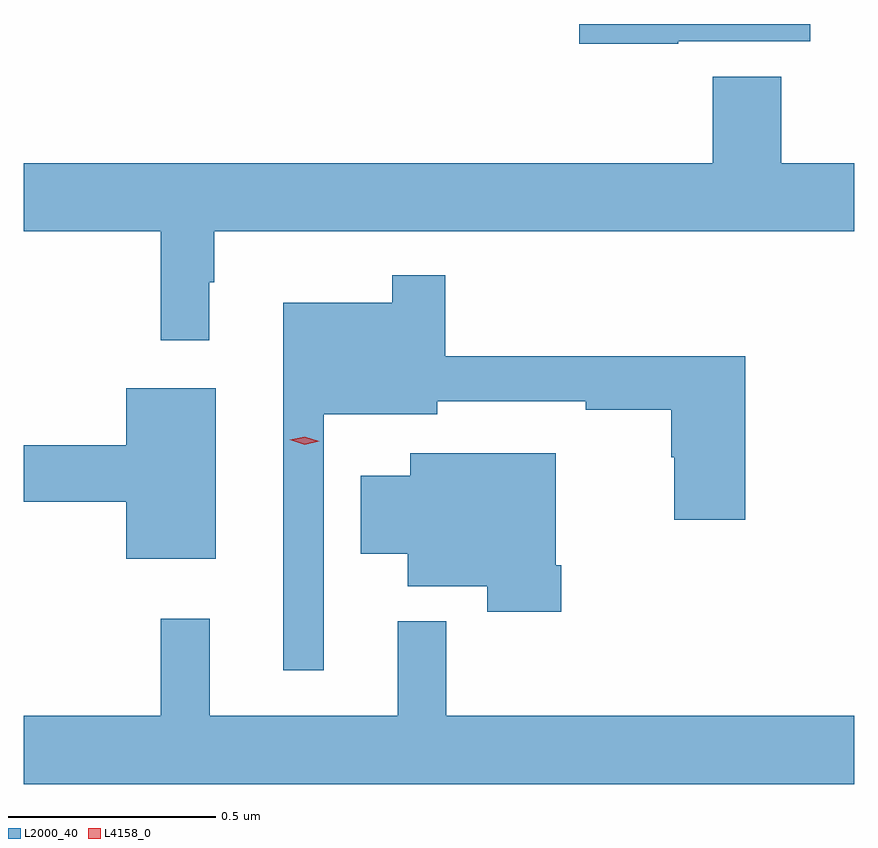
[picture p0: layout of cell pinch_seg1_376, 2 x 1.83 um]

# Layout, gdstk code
import gdstk
lib = gdstk.Library(unit=1e-6, precision=1e-09)
def P(c, l, *ps):  # polygons
    for p in ps: c.add(gdstk.Polygon(p, *l))
L2000_40 = (2000, 40)
L4158_0 = (4158, 0)

pinch_seg1_376 = lib.new_cell('pinch_seg1_376')
P(pinch_seg1_376, L2000_40, [(965.663,536.205),(965.982,536.205),(965.982,536.247),(965.425,536.247),(965.425,536.2),(965.663,536.2)],
  [(964.534,535.625),(964.546,535.625),(964.546,535.748),(966.087,535.748),(966.087,535.912),(965.912,535.912),(965.912,536.12),(965.747,536.12),(965.747,535.912),(964.087,535.912),(964.087,535.748),(964.417,535.748),(964.417,535.485),(964.534,535.485)],
  [(964.809,535.307),(965.083,535.307),(965.083,535.338),(965.44,535.338),(965.44,535.318),(965.647,535.318),(965.647,535.203),(965.654,535.203),(965.654,535.053),(965.825,535.053),(965.825,535.447),(965.102,535.447),(965.102,535.642),(964.974,535.642),(964.974,535.576),(964.712,535.576),(964.712,534.69),(964.809,534.69)],
  [(964.549,535.369),(964.334,535.369),(964.334,535.232),(964.087,535.232),(964.087,535.096),(964.334,535.096),(964.334,534.959),(964.549,534.959)],
  [(965.381,534.943),(965.368,534.943),(965.368,535.213),(965.018,535.213),(965.018,535.159),(964.898,535.159),(964.898,534.971),(965.012,534.971),(965.012,534.893),(965.203,534.893),(965.203,534.831),(965.381,534.831)],
  [(966.087,534.58),(965.105,534.58),(965.105,534.808),(964.988,534.808),(964.988,534.58),(964.535,534.58),(964.535,534.814),(964.417,534.814),(964.417,534.58),(964.087,534.58),(964.087,534.416),(966.087,534.416)])
P(pinch_seg1_376, L4158_0, [(964.763,535.233),(964.728,535.245),(964.728,535.245),(964.728,535.245),(964.764,535.253),(964.799,535.242),(964.799,535.242),(964.799,535.242)])

lib.write_gds('pinch_seg1_376.gds')
